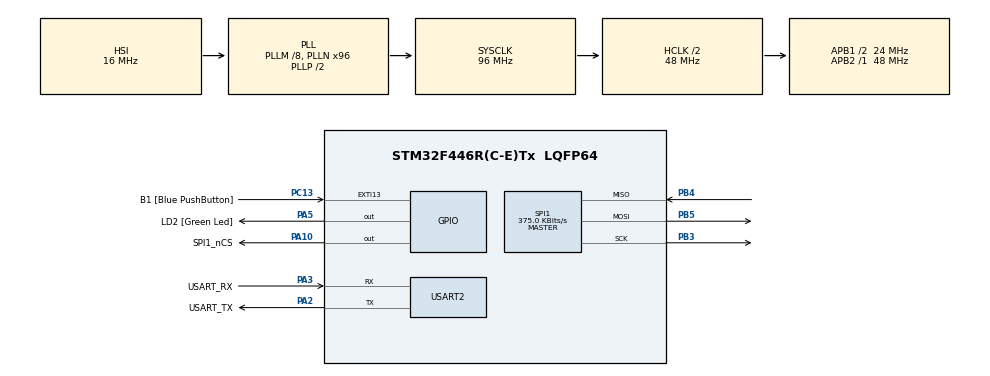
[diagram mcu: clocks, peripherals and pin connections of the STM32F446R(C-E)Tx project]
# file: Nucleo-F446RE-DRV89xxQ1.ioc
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Mcu.Family=STM32F4
Mcu.Name=STM32F446R(C-E)Tx
Mcu.Package=LQFP64
NVIC.PriorityGroup=NVIC_PRIORITYGROUP_0
PA10.GPIO_Label=SPI1_nCS
PA10.PinState=GPIO_PIN_SET
PA10.Signal=GPIO_Output
PA13.GPIO_Label=TMS
PA13.Mode=Serial_Wire
PA13.Signal=SYS_JTMS-SWDIO
PA14.GPIO_Label=TCK
PA14.Mode=Serial_Wire
PA14.Signal=SYS_JTCK-SWCLK
PA2.GPIO_Label=USART_TX
PA2.Mode=Asynchronous
PA2.Signal=USART2_TX
PA3.GPIO_Label=USART_RX
PA3.Mode=Asynchronous
PA3.Signal=USART2_RX
PA5.GPIO_Label=LD2 [Green Led]
PA5.Signal=GPIO_Output
PB3.Mode=Full_Duplex_Master
PB3.Signal=SPI1_SCK
PB4.Mode=Full_Duplex_Master
PB4.Signal=SPI1_MISO
PB5.Mode=Full_Duplex_Master
PB5.Signal=SPI1_MOSI
PC13.GPIO_Label=B1 [Blue PushButton]
PC13.GPIO_ModeDefaultEXTI=GPIO_MODE_IT_FALLING
PC13.Signal=GPXTI13
PC14-OSC32_IN.Mode=LSE-External-Oscillator
PC14-OSC32_IN.Signal=RCC_OSC32_IN
PC15-OSC32_OUT.Mode=LSE-External-Oscillator
PC15-OSC32_OUT.Signal=RCC_OSC32_OUT
PH0-OSC_IN.Mode=HSE-External-Oscillator
PH0-OSC_IN.Signal=RCC_OSC_IN
PH1-OSC_OUT.Mode=HSE-External-Oscillator
PH1-OSC_OUT.Signal=RCC_OSC_OUT
ProjectManager.HeapSize=0x200
ProjectManager.StackSize=0x400
ProjectManager.TargetToolchain=STM32CubeIDE
RCC.48MHZClocksFreq_Value=84000000
RCC.AHBCLKDivider=RCC_SYSCLK_DIV2
RCC.AHBFreq_Value=48000000
RCC.APB1CLKDivider=RCC_HCLK_DIV2
RCC.APB1Freq_Value=24000000
RCC.APB1TimFreq_Value=48000000
RCC.APB2Freq_Value=48000000
RCC.APB2TimFreq_Value=48000000
RCC.CortexFreq_Value=48000000
RCC.FLatency-AdvancedSettings=FLASH_LATENCY_1
RCC.HCLKFreq_Value=48000000
RCC.HSE_VALUE=8000000
RCC.HSI_VALUE=16000000
RCC.PLLM=8
RCC.PLLN=96
RCC.SYSCLKFreq_VALUE=96000000
RCC.SYSCLKSource=RCC_SYSCLKSOURCE_PLLCLK
RCC.USBFreq_Value=96000000
RCC.VCOOutputFreq_Value=192000000
SPI1.BaudRatePrescaler=SPI_BAUDRATEPRESCALER_128
SPI1.CalculateBaudRate=375.0 KBits/s
SPI1.Direction=SPI_DIRECTION_2LINES
SPI1.Mode=SPI_MODE_MASTER
SPI1.VirtualType=VM_MASTER
USART2.VirtualMode=VM_ASYNC
board=NUCLEO-F446RE

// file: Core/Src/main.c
/* USER CODE BEGIN Header */
/**
 ******************************************************************************
 * @file           : main.c
 * @brief          : Main program body
 ******************************************************************************
 * @attention
 *
 * Copyright (c) 2025 STMicroelectronics.
 * All rights reserved.
 *
 * This software is licensed under terms that can be found in the LICENSE file
 * in the root directory of this software component.
 * If no LICENSE file comes with this software, it is provided AS-IS.
 *
 *
 * Testing DRV8908 Digital Out Driver from TI
 * Setup:
 * Nucleo-F446RE
 * SPI on PA10, PB4, PB5, PB6
 *
 *
 *
 ******************************************************************************
 */
/* USER CODE END Header */
#include "main.h"
#include "spi.h"
#include "usart.h"
#include "gpio.h"

/* USER CODE BEGIN Includes */

/* Control Register */
#define IC_STAT		0x01
#define CONFIG_CTRL 0x07
#define OP_CTRL_1 	0x08
#define OP_CTRL_2 	0x09

/* Bitmask */
#define HB1_LS_EN (1<<0)
#define HB1_HS_EN (1<<1)
#define HB2_LS_EN (1<<2)
#define HB2_HS_EN (1<<3)
#define HB3_LS_EN (1<<4)
#define HB3_HS_EN (1<<5)
#define HB4_LS_EN (1<<6)
#define HB4_HS_EN (1<<7)

#define HB5_LS_EN (1<<0)
#define HB5_HS_EN (1<<1)
#define HB6_LS_EN (1<<2)
#define HB6_HS_EN (1<<3)
#define HB7_LS_EN (1<<4)
#define HB7_HS_EN (1<<5)
#define HB8_LS_EN (1<<6)
#define HB8_HS_EN (1<<7)

// Helper macros for CS control
#define DRV_CS_LOW()   HAL_GPIO_WritePin(SPI1_nCS_GPIO_Port, SPI1_nCS_Pin, 0)
#define DRV_CS_HIGH()  HAL_GPIO_WritePin(SPI1_nCS_GPIO_Port, SPI1_nCS_Pin, 1)

void drv89xxq1_enable_chip_select(void) {
	HAL_GPIO_WritePin(SPI1_nCS_GPIO_Port, SPI1_nCS_Pin, 0);
}

void drv89xxq1_disable_chip_select(void) {
	HAL_GPIO_WritePin(SPI1_nCS_GPIO_Port, SPI1_nCS_Pin, 1);
}

void drv89xxq1_write_control_register(uint8_t register_address, uint8_t data, uint8_t *result) {
	/* compose the write address byte */
	uint16_t address = 0x00;// For a write command (W0 = 0), the response word on the SDO pin is the data currently in the register being written to.
	address |= register_address;
	uint8_t spi_tx_data_frame[2] = { address, data };
	HAL_SPI_TransmitReceive(&hspi1, spi_tx_data_frame, result, 2, 0xffff);
}

void drv89xxq1_read_control_register(uint8_t register_address, uint8_t *result) {
	/* compose the write address byte */
	uint16_t address = 0x40;// For a read command (W0 = 1), the response word is the data currently in the register being read.
	address |= register_address;
	uint8_t spi_tx_data_frame[2] = { address, 0xff};
	HAL_SPI_TransmitReceive(&hspi1, spi_tx_data_frame, result, 2, 0xffff);
}

void drv89xxq1_set_outputs(uint8_t bank, uint8_t output_state_bitmask, uint8_t *result) {
	drv89xxq1_enable_chip_select();
	drv89xxq1_write_control_register(bank, output_state_bitmask, result);
	drv89xxq1_disable_chip_select();
}

/* USER CODE END Includes */

void SystemClock_Config(void);

int main(void)
{

  /* MCU Configuration--------------------------------------------------------*/

  /* Reset of all peripherals, Initializes the Flash interface and the Systick. */
  HAL_Init();

  /* Configure the system clock */
  SystemClock_Config();

  /* Initialize all configured peripherals */
  MX_GPIO_Init();
  MX_USART2_UART_Init();
  MX_SPI1_Init();
  /* USER CODE BEGIN 2 */

  uint8_t result[2] = {0};
  drv89xxq1_enable_chip_select();
  drv89xxq1_read_control_register(CONFIG_CTRL, result);
  drv89xxq1_disable_chip_select();

  drv89xxq1_enable_chip_select();
  drv89xxq1_write_control_register(CONFIG_CTRL, 0, result);
  drv89xxq1_disable_chip_select();

  HAL_Delay(500);
  drv89xxq1_enable_chip_select();
  drv89xxq1_read_control_register(IC_STAT, result);
  drv89xxq1_enable_chip_select();

  /* USER CODE END 2 */

  /* Infinite loop */
	while (1) {

    /* USER CODE BEGIN 3 */
		for (uint16_t i = 0; i < 8; ++i) {
			uint8_t output = (1 << i);
			drv89xxq1_set_outputs(OP_CTRL_1, output, result);
			HAL_Delay(500);
		}

		for (uint16_t i = 1; i < 8; ++i) {
			uint8_t output = (1 << i);
			drv89xxq1_set_outputs(OP_CTRL_2, output, result);
			HAL_Delay(500);
		}
	}
  /* USER CODE END 3 */
}

void SystemClock_Config(void)
{
  RCC_OscInitTypeDef RCC_OscInitStruct = {0};
  RCC_ClkInitTypeDef RCC_ClkInitStruct = {0};

  /** Configure the main internal regulator output voltage
  */
  __HAL_RCC_PWR_CLK_ENABLE();
  __HAL_PWR_VOLTAGESCALING_CONFIG(PWR_REGULATOR_VOLTAGE_SCALE3);

  /** Initializes the RCC Oscillators according to the specified parameters
  * in the RCC_OscInitTypeDef structure.
  */
  RCC_OscInitStruct.OscillatorType = RCC_OSCILLATORTYPE_HSI;
  RCC_OscInitStruct.HSIState = RCC_HSI_ON;
  RCC_OscInitStruct.HSICalibrationValue = RCC_HSICALIBRATION_DEFAULT;
  RCC_OscInitStruct.PLL.PLLState = RCC_PLL_ON;
  RCC_OscInitStruct.PLL.PLLSource = RCC_PLLSOURCE_HSI;
  RCC_OscInitStruct.PLL.PLLM = 8;
  RCC_OscInitStruct.PLL.PLLN = 96;
  RCC_OscInitStruct.PLL.PLLP = RCC_PLLP_DIV2;
  RCC_OscInitStruct.PLL.PLLQ = 2;
  RCC_OscInitStruct.PLL.PLLR = 2;
  if (HAL_RCC_OscConfig(&RCC_OscInitStruct) != HAL_OK)
  {
    Error_Handler();
  }

  /** Initializes the CPU, AHB and APB buses clocks
  */
  RCC_ClkInitStruct.ClockType = RCC_CLOCKTYPE_HCLK|RCC_CLOCKTYPE_SYSCLK
                              |RCC_CLOCKTYPE_PCLK1|RCC_CLOCKTYPE_PCLK2;
  RCC_ClkInitStruct.SYSCLKSource = RCC_SYSCLKSOURCE_PLLCLK;
  RCC_ClkInitStruct.AHBCLKDivider = RCC_SYSCLK_DIV2;
  RCC_ClkInitStruct.APB1CLKDivider = RCC_HCLK_DIV2;
  RCC_ClkInitStruct.APB2CLKDivider = RCC_HCLK_DIV1;

  if (HAL_RCC_ClockConfig(&RCC_ClkInitStruct, FLASH_LATENCY_1) != HAL_OK)
  {
    Error_Handler();
  }
}

void Error_Handler(void)
{
	__disable_irq();
	while (1) {
	}
}
